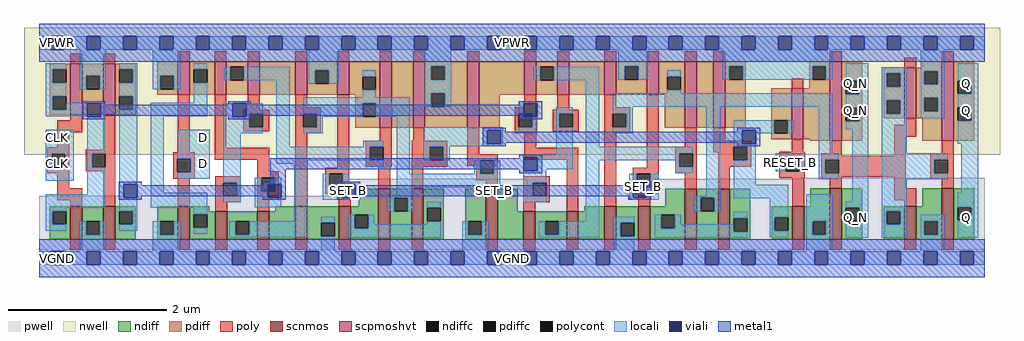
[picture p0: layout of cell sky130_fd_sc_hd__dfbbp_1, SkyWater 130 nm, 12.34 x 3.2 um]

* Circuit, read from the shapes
.subckt sky130_fd_sc_hd__dfbbp_1 CLK D RESET_B SET_B VGND VNB VPB VPWR Q Q_N
XM1 VGND CLK n1 VNB sky130_fd_pr__nfet_01v8 w=0.42 l=0.15
XM2 n2 n1 VGND VNB sky130_fd_pr__nfet_01v8 w=0.42 l=0.15
XM3 n3 D VGND VNB sky130_fd_pr__nfet_01v8 w=0.42 l=0.15
XM4 n4 n1 n3 VNB sky130_fd_pr__nfet_01v8 w=0.36 l=0.15
XM5 n5 n2 n4 VNB sky130_fd_pr__nfet_01v8 w=0.36 l=0.15
XM6 VGND n6 n5 VNB sky130_fd_pr__nfet_01v8 w=0.42 l=0.15
XM7 n7 SET_B VGND VNB sky130_fd_pr__nfet_01v8 w=0.42 l=0.15
XM8 n6 n4 n7 VNB sky130_fd_pr__nfet_01v8 w=0.64 l=0.15
XM9 n7 n8 n6 VNB sky130_fd_pr__nfet_01v8 w=0.64 l=0.15
XM10 n9 n6 VGND VNB sky130_fd_pr__nfet_01v8 w=0.64 l=0.15
XM11 n10 n2 n9 VNB sky130_fd_pr__nfet_01v8 w=0.36 l=0.15
XM12 n11 n1 n10 VNB sky130_fd_pr__nfet_01v8 w=0.36 l=0.15
XM13 VGND n12 n11 VNB sky130_fd_pr__nfet_01v8 w=0.42 l=0.15
XM14 n13 SET_B VGND VNB sky130_fd_pr__nfet_01v8 w=0.42 l=0.15
XM15 n12 n10 n13 VNB sky130_fd_pr__nfet_01v8 w=0.64 l=0.15
XM16 n13 n8 n12 VNB sky130_fd_pr__nfet_01v8 w=0.64 l=0.15
XM17 VGND RESET_B n8 VNB sky130_fd_pr__nfet_01v8 w=0.42 l=0.15
XM18 Q_N n12 VGND VNB sky130_fd_pr__nfet_01v8 w=0.65 l=0.15
XM19 VGND n12 n14 VNB sky130_fd_pr__nfet_01v8 w=0.42 l=0.15
XM20 Q n14 VGND VNB sky130_fd_pr__nfet_01v8 w=0.65 l=0.15
XM21 VPWR CLK n1 VPB sky130_fd_pr__pfet_01v8_hvt w=0.64 l=0.15
XM22 n2 n1 VPWR VPB sky130_fd_pr__pfet_01v8_hvt w=0.64 l=0.15
XM23 n3 D VPWR VPB sky130_fd_pr__pfet_01v8_hvt w=0.42 l=0.15
XM24 n4 n2 n3 VPB sky130_fd_pr__pfet_01v8_hvt w=0.42 l=0.15
XM25 n15 n1 n4 VPB sky130_fd_pr__pfet_01v8_hvt w=0.42 l=0.15
XM26 VPWR n6 n15 VPB sky130_fd_pr__pfet_01v8_hvt w=0.42 l=0.15
XM27 n6 SET_B VPWR VPB sky130_fd_pr__pfet_01v8_hvt w=0.42 l=0.15
XM28 n16 n4 n6 VPB sky130_fd_pr__pfet_01v8_hvt w=0.84 l=0.15
XM29 VPWR n8 n16 VPB sky130_fd_pr__pfet_01v8_hvt w=0.84 l=0.15
XM30 n17 n6 VPWR VPB sky130_fd_pr__pfet_01v8_hvt w=0.84 l=0.15
XM31 n10 n1 n17 VPB sky130_fd_pr__pfet_01v8_hvt w=0.42 l=0.15
XM32 n18 n2 n10 VPB sky130_fd_pr__pfet_01v8_hvt w=0.42 l=0.15
XM33 VPWR n12 n18 VPB sky130_fd_pr__pfet_01v8_hvt w=0.42 l=0.15
XM34 n12 SET_B VPWR VPB sky130_fd_pr__pfet_01v8_hvt w=0.42 l=0.15
XM35 n19 n10 n12 VPB sky130_fd_pr__pfet_01v8_hvt w=0.84 l=0.15
XM36 VPWR n8 n19 VPB sky130_fd_pr__pfet_01v8_hvt w=0.84 l=0.15
XM37 VPWR RESET_B n8 VPB sky130_fd_pr__pfet_01v8_hvt w=0.64 l=0.15
XM38 Q_N n12 VPWR VPB sky130_fd_pr__pfet_01v8_hvt w=1 l=0.15
XM39 VPWR n12 n14 VPB sky130_fd_pr__pfet_01v8_hvt w=0.64 l=0.15
XM40 Q n14 VPWR VPB sky130_fd_pr__pfet_01v8_hvt w=1 l=0.15
.ends

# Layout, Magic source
magic
tech sky130A
magscale 1 2
<< nwell >>
rect -38 261 2430 582
<< pwell >>
rect 1924 201 2391 203
rect 782 157 1236 201
rect 1557 157 2391 201
rect 1 21 2391 157
rect 30 -17 64 21
<< scnmos >>
rect 79 47 109 131
rect 163 47 193 131
rect 351 47 381 131
rect 446 47 476 119
rect 552 47 582 119
rect 648 47 678 131
rect 758 47 788 131
rect 858 47 888 175
rect 942 47 972 175
rect 1130 47 1160 175
rect 1225 47 1255 119
rect 1334 47 1364 119
rect 1429 47 1459 131
rect 1515 47 1545 131
rect 1633 47 1663 175
rect 1717 47 1747 175
rect 1905 47 1935 131
rect 2000 47 2030 177
rect 2188 47 2218 131
rect 2283 47 2313 177
<< scpmoshvt >>
rect 79 363 109 491
rect 163 363 193 491
rect 351 413 381 497
rect 444 413 474 497
rect 528 413 558 497
rect 648 413 678 497
rect 754 413 784 497
rect 862 329 892 497
rect 946 329 976 497
rect 1083 329 1113 497
rect 1227 413 1257 497
rect 1311 413 1341 497
rect 1429 413 1459 497
rect 1537 413 1567 497
rect 1633 329 1663 497
rect 1705 329 1735 497
rect 1903 301 1933 429
rect 2000 297 2030 497
rect 2188 353 2218 481
rect 2283 297 2313 497
<< ndiff >>
rect 27 119 79 131
rect 27 85 35 119
rect 69 85 79 119
rect 27 47 79 85
rect 109 93 163 131
rect 109 59 119 93
rect 153 59 163 93
rect 109 47 163 59
rect 193 119 245 131
rect 193 85 203 119
rect 237 85 245 119
rect 193 47 245 85
rect 299 93 351 131
rect 299 59 307 93
rect 341 59 351 93
rect 299 47 351 59
rect 381 119 431 131
rect 808 131 858 175
rect 597 119 648 131
rect 381 111 446 119
rect 381 77 391 111
rect 425 77 446 111
rect 381 47 446 77
rect 476 93 552 119
rect 476 59 497 93
rect 531 59 552 93
rect 476 47 552 59
rect 582 47 648 119
rect 678 89 758 131
rect 678 55 714 89
rect 748 55 758 89
rect 678 47 758 55
rect 788 109 858 131
rect 788 75 798 109
rect 832 75 858 109
rect 788 47 858 75
rect 888 153 942 175
rect 888 119 898 153
rect 932 119 942 153
rect 888 47 942 119
rect 972 127 1024 175
rect 972 93 982 127
rect 1016 93 1024 127
rect 972 47 1024 93
rect 1078 93 1130 175
rect 1078 59 1086 93
rect 1120 59 1130 93
rect 1078 47 1130 59
rect 1160 119 1210 175
rect 1583 131 1633 175
rect 1379 119 1429 131
rect 1160 47 1225 119
rect 1255 93 1334 119
rect 1255 59 1280 93
rect 1314 59 1334 93
rect 1255 47 1334 59
rect 1364 47 1429 119
rect 1459 89 1515 131
rect 1459 55 1471 89
rect 1505 55 1515 89
rect 1459 47 1515 55
rect 1545 109 1633 131
rect 1545 75 1573 109
rect 1607 75 1633 109
rect 1545 47 1633 75
rect 1663 153 1717 175
rect 1663 119 1673 153
rect 1707 119 1717 153
rect 1663 47 1717 119
rect 1747 101 1799 175
rect 1950 131 2000 177
rect 1747 67 1757 101
rect 1791 67 1799 101
rect 1747 47 1799 67
rect 1853 103 1905 131
rect 1853 69 1861 103
rect 1895 69 1905 103
rect 1853 47 1905 69
rect 1935 93 2000 131
rect 1935 59 1956 93
rect 1990 59 2000 93
rect 1935 47 2000 59
rect 2030 127 2082 177
rect 2233 131 2283 177
rect 2030 93 2040 127
rect 2074 93 2082 127
rect 2030 47 2082 93
rect 2136 119 2188 131
rect 2136 85 2144 119
rect 2178 85 2188 119
rect 2136 47 2188 85
rect 2218 93 2283 131
rect 2218 59 2239 93
rect 2273 59 2283 93
rect 2218 47 2283 59
rect 2313 129 2365 177
rect 2313 95 2323 129
rect 2357 95 2365 129
rect 2313 47 2365 95
<< pdiff >>
rect 27 477 79 491
rect 27 443 35 477
rect 69 443 79 477
rect 27 409 79 443
rect 27 375 35 409
rect 69 375 79 409
rect 27 363 79 375
rect 109 461 163 491
rect 109 427 119 461
rect 153 427 163 461
rect 109 363 163 427
rect 193 477 245 491
rect 193 443 203 477
rect 237 443 245 477
rect 193 409 245 443
rect 299 461 351 497
rect 299 427 307 461
rect 341 427 351 461
rect 299 413 351 427
rect 381 477 444 497
rect 381 443 391 477
rect 425 443 444 477
rect 381 413 444 443
rect 474 484 528 497
rect 474 450 484 484
rect 518 450 528 484
rect 474 413 528 450
rect 558 413 648 497
rect 678 475 754 497
rect 678 441 698 475
rect 732 441 754 475
rect 678 413 754 441
rect 784 459 862 497
rect 784 425 818 459
rect 852 425 862 459
rect 784 413 862 425
rect 193 375 203 409
rect 237 375 245 409
rect 193 363 245 375
rect 800 391 862 413
rect 800 357 818 391
rect 852 357 862 391
rect 800 329 862 357
rect 892 329 946 497
rect 976 485 1083 497
rect 976 451 992 485
rect 1026 451 1083 485
rect 976 417 1083 451
rect 976 383 992 417
rect 1026 383 1083 417
rect 976 329 1083 383
rect 1113 413 1227 497
rect 1257 484 1311 497
rect 1257 450 1267 484
rect 1301 450 1311 484
rect 1257 413 1311 450
rect 1341 413 1429 497
rect 1459 485 1537 497
rect 1459 451 1481 485
rect 1515 451 1537 485
rect 1459 413 1537 451
rect 1567 459 1633 497
rect 1567 425 1589 459
rect 1623 425 1633 459
rect 1567 413 1633 425
rect 1113 329 1165 413
rect 1582 329 1633 413
rect 1663 329 1705 497
rect 1735 485 1787 497
rect 1735 451 1745 485
rect 1779 451 1787 485
rect 1948 485 2000 497
rect 1735 329 1787 451
rect 1948 451 1956 485
rect 1990 451 2000 485
rect 1948 429 2000 451
rect 1851 349 1903 429
rect 1851 315 1859 349
rect 1893 315 1903 349
rect 1851 301 1903 315
rect 1933 301 2000 429
rect 1950 297 2000 301
rect 2030 448 2082 497
rect 2233 481 2283 497
rect 2030 414 2040 448
rect 2074 414 2082 448
rect 2030 380 2082 414
rect 2030 346 2040 380
rect 2074 346 2082 380
rect 2136 467 2188 481
rect 2136 433 2144 467
rect 2178 433 2188 467
rect 2136 399 2188 433
rect 2136 365 2144 399
rect 2178 365 2188 399
rect 2136 353 2188 365
rect 2218 473 2283 481
rect 2218 439 2239 473
rect 2273 439 2283 473
rect 2218 405 2283 439
rect 2218 371 2239 405
rect 2273 371 2283 405
rect 2218 353 2283 371
rect 2030 297 2082 346
rect 2233 297 2283 353
rect 2313 449 2365 497
rect 2313 415 2323 449
rect 2357 415 2365 449
rect 2313 381 2365 415
rect 2313 347 2323 381
rect 2357 347 2365 381
rect 2313 297 2365 347
<< ndiffc >>
rect 35 85 69 119
rect 119 59 153 93
rect 203 85 237 119
rect 307 59 341 93
rect 391 77 425 111
rect 497 59 531 93
rect 714 55 748 89
rect 798 75 832 109
rect 898 119 932 153
rect 982 93 1016 127
rect 1086 59 1120 93
rect 1280 59 1314 93
rect 1471 55 1505 89
rect 1573 75 1607 109
rect 1673 119 1707 153
rect 1757 67 1791 101
rect 1861 69 1895 103
rect 1956 59 1990 93
rect 2040 93 2074 127
rect 2144 85 2178 119
rect 2239 59 2273 93
rect 2323 95 2357 129
<< pdiffc >>
rect 35 443 69 477
rect 35 375 69 409
rect 119 427 153 461
rect 203 443 237 477
rect 307 427 341 461
rect 391 443 425 477
rect 484 450 518 484
rect 698 441 732 475
rect 818 425 852 459
rect 203 375 237 409
rect 818 357 852 391
rect 992 451 1026 485
rect 992 383 1026 417
rect 1267 450 1301 484
rect 1481 451 1515 485
rect 1589 425 1623 459
rect 1745 451 1779 485
rect 1956 451 1990 485
rect 1859 315 1893 349
rect 2040 414 2074 448
rect 2040 346 2074 380
rect 2144 433 2178 467
rect 2144 365 2178 399
rect 2239 439 2273 473
rect 2239 371 2273 405
rect 2323 415 2357 449
rect 2323 347 2357 381
<< poly >>
rect 79 491 109 517
rect 163 491 193 517
rect 351 497 381 523
rect 444 497 474 523
rect 528 497 558 523
rect 648 497 678 523
rect 754 497 784 523
rect 862 497 892 523
rect 946 497 976 523
rect 1083 497 1113 523
rect 1227 497 1257 523
rect 1311 497 1341 523
rect 1429 497 1459 523
rect 1537 497 1567 523
rect 1633 497 1663 523
rect 1705 497 1735 523
rect 2000 497 2030 523
rect 79 348 109 363
rect 46 318 109 348
rect 46 280 76 318
rect 21 264 76 280
rect 163 274 193 363
rect 21 230 32 264
rect 66 230 76 264
rect 21 214 76 230
rect 118 264 193 274
rect 351 267 381 413
rect 444 279 474 413
rect 528 375 558 413
rect 648 381 678 413
rect 516 365 582 375
rect 516 331 532 365
rect 566 331 582 365
rect 516 321 582 331
rect 648 365 712 381
rect 648 331 668 365
rect 702 331 712 365
rect 648 315 712 331
rect 118 230 134 264
rect 168 230 193 264
rect 118 220 193 230
rect 46 176 76 214
rect 46 146 109 176
rect 79 131 109 146
rect 163 131 193 220
rect 340 251 394 267
rect 340 217 350 251
rect 384 217 394 251
rect 444 249 582 279
rect 340 201 394 217
rect 552 219 582 249
rect 351 131 381 201
rect 446 191 510 207
rect 446 157 466 191
rect 500 157 510 191
rect 446 141 510 157
rect 552 203 606 219
rect 552 169 562 203
rect 596 169 606 203
rect 552 153 606 169
rect 446 119 476 141
rect 552 119 582 153
rect 648 131 678 315
rect 754 229 784 413
rect 1227 381 1257 413
rect 1203 365 1257 381
rect 1311 375 1341 413
rect 1429 381 1459 413
rect 1203 331 1213 365
rect 1247 331 1257 365
rect 862 297 892 329
rect 946 297 976 329
rect 826 281 892 297
rect 826 247 836 281
rect 870 247 892 281
rect 826 231 892 247
rect 942 281 1032 297
rect 942 247 988 281
rect 1022 247 1032 281
rect 942 231 1032 247
rect 1083 263 1113 329
rect 1203 315 1257 331
rect 1299 365 1365 375
rect 1299 331 1315 365
rect 1349 331 1365 365
rect 1299 321 1365 331
rect 1429 365 1495 381
rect 1429 331 1451 365
rect 1485 331 1495 365
rect 1227 279 1257 315
rect 1429 315 1495 331
rect 1083 247 1160 263
rect 1227 249 1364 279
rect 1083 233 1116 247
rect 724 213 784 229
rect 724 179 734 213
rect 768 193 784 213
rect 768 179 788 193
rect 724 163 788 179
rect 858 175 888 231
rect 942 175 972 231
rect 1106 213 1116 233
rect 1150 213 1160 247
rect 1106 197 1160 213
rect 1130 175 1160 197
rect 1225 191 1292 207
rect 758 131 788 163
rect 1225 157 1248 191
rect 1282 157 1292 191
rect 1225 141 1292 157
rect 1225 119 1255 141
rect 1334 119 1364 249
rect 1429 131 1459 315
rect 1537 229 1567 413
rect 1903 429 1933 455
rect 1633 281 1663 329
rect 1501 213 1567 229
rect 1609 265 1663 281
rect 1705 297 1735 329
rect 1705 281 1801 297
rect 1705 267 1757 281
rect 1609 231 1619 265
rect 1653 231 1663 265
rect 1609 215 1663 231
rect 1501 179 1511 213
rect 1545 179 1567 213
rect 1501 163 1567 179
rect 1633 175 1663 215
rect 1717 247 1757 267
rect 1791 247 1801 281
rect 1903 269 1933 301
rect 2188 481 2218 507
rect 2283 497 2313 523
rect 2188 337 2218 353
rect 2162 307 2218 337
rect 1717 231 1801 247
rect 1872 253 1936 269
rect 2000 265 2030 297
rect 1717 175 1747 231
rect 1872 219 1888 253
rect 1922 219 1936 253
rect 1872 203 1936 219
rect 1978 259 2030 265
rect 2162 259 2192 307
rect 2283 265 2313 297
rect 1978 249 2192 259
rect 1978 215 1988 249
rect 2022 215 2192 249
rect 1978 205 2192 215
rect 1515 131 1545 163
rect 1905 131 1935 203
rect 1978 199 2030 205
rect 2000 177 2030 199
rect 2162 176 2192 205
rect 2254 249 2313 265
rect 2254 215 2264 249
rect 2298 215 2313 249
rect 2254 199 2313 215
rect 2283 177 2313 199
rect 2162 146 2218 176
rect 2188 131 2218 146
rect 79 21 109 47
rect 163 21 193 47
rect 351 21 381 47
rect 446 21 476 47
rect 552 21 582 47
rect 648 21 678 47
rect 758 21 788 47
rect 858 21 888 47
rect 942 21 972 47
rect 1130 21 1160 47
rect 1225 21 1255 47
rect 1334 21 1364 47
rect 1429 21 1459 47
rect 1515 21 1545 47
rect 1633 21 1663 47
rect 1717 21 1747 47
rect 1905 21 1935 47
rect 2000 21 2030 47
rect 2188 21 2218 47
rect 2283 21 2313 47
<< polycont >>
rect 32 230 66 264
rect 532 331 566 365
rect 668 331 702 365
rect 134 230 168 264
rect 350 217 384 251
rect 466 157 500 191
rect 562 169 596 203
rect 1213 331 1247 365
rect 836 247 870 281
rect 988 247 1022 281
rect 1315 331 1349 365
rect 1451 331 1485 365
rect 734 179 768 213
rect 1116 213 1150 247
rect 1248 157 1282 191
rect 1619 231 1653 265
rect 1511 179 1545 213
rect 1757 247 1791 281
rect 1888 219 1922 253
rect 1988 215 2022 249
rect 2264 215 2298 249
<< locali >>
rect 0 527 29 561
rect 63 527 121 561
rect 155 527 213 561
rect 247 527 305 561
rect 339 527 397 561
rect 431 527 489 561
rect 523 527 581 561
rect 615 527 673 561
rect 707 527 765 561
rect 799 527 857 561
rect 891 527 949 561
rect 983 527 1041 561
rect 1075 527 1133 561
rect 1167 527 1225 561
rect 1259 527 1317 561
rect 1351 527 1409 561
rect 1443 527 1501 561
rect 1535 527 1593 561
rect 1627 527 1685 561
rect 1719 527 1777 561
rect 1811 527 1869 561
rect 1903 527 1961 561
rect 1995 527 2053 561
rect 2087 527 2145 561
rect 2179 527 2237 561
rect 2271 527 2329 561
rect 2363 527 2392 561
rect 17 477 69 493
rect 17 443 35 477
rect 17 409 69 443
rect 103 461 169 527
rect 103 427 119 461
rect 153 427 169 461
rect 203 477 248 493
rect 237 443 248 477
rect 17 375 35 409
rect 203 409 248 443
rect 287 461 357 527
rect 287 427 307 461
rect 341 427 357 461
rect 391 477 425 493
rect 468 450 484 484
rect 518 450 634 484
rect 69 391 168 393
rect 69 375 122 391
rect 17 359 122 375
rect 156 357 168 391
rect 17 264 88 325
rect 17 230 32 264
rect 66 230 88 264
rect 17 195 88 230
rect 122 264 168 357
rect 122 230 134 264
rect 122 161 168 230
rect 17 127 168 161
rect 237 375 248 409
rect 391 393 425 443
rect 203 187 248 375
rect 203 153 214 187
rect 17 119 69 127
rect 17 85 35 119
rect 203 119 248 153
rect 282 359 425 393
rect 282 165 316 359
rect 466 357 490 391
rect 524 365 566 391
rect 524 357 532 365
rect 466 331 532 357
rect 350 251 432 325
rect 384 217 432 251
rect 350 201 432 217
rect 466 315 566 331
rect 466 191 510 315
rect 600 281 634 450
rect 682 475 758 527
rect 976 485 1042 527
rect 682 441 698 475
rect 732 441 758 475
rect 818 459 852 475
rect 818 407 852 425
rect 976 451 992 485
rect 1026 451 1042 485
rect 1465 485 1541 527
rect 976 417 1042 451
rect 1251 450 1267 484
rect 1301 450 1417 484
rect 1465 451 1481 485
rect 1515 451 1541 485
rect 1729 485 2006 527
rect 1589 459 1623 475
rect 668 391 938 407
rect 668 365 818 391
rect 702 357 818 365
rect 852 357 938 391
rect 976 383 992 417
rect 1026 383 1042 417
rect 1213 391 1260 397
rect 702 331 718 357
rect 668 315 718 331
rect 820 281 870 297
rect 600 247 836 281
rect 600 239 680 247
rect 282 127 425 165
rect 500 157 510 191
rect 466 141 510 157
rect 546 169 562 203
rect 596 187 612 203
rect 546 153 578 169
rect 546 129 612 153
rect 17 69 69 85
rect 103 59 119 93
rect 153 59 169 93
rect 237 85 248 119
rect 391 111 425 127
rect 203 69 248 85
rect 103 17 169 59
rect 287 59 307 93
rect 341 59 357 93
rect 646 93 680 239
rect 826 231 870 247
rect 904 213 938 357
rect 1213 365 1226 391
rect 1247 331 1260 357
rect 972 323 1173 331
rect 972 289 1134 323
rect 1168 289 1173 323
rect 1213 315 1260 331
rect 1308 365 1349 381
rect 1308 331 1315 365
rect 972 283 1173 289
rect 972 281 1038 283
rect 972 247 988 281
rect 1022 247 1038 281
rect 1308 261 1349 331
rect 1225 255 1349 261
rect 1100 213 1116 247
rect 1150 213 1166 247
rect 718 179 734 213
rect 768 193 784 213
rect 768 187 800 193
rect 718 153 766 179
rect 904 179 1166 213
rect 1225 221 1226 255
rect 1260 225 1349 255
rect 1383 281 1417 450
rect 1729 451 1745 485
rect 1779 451 1956 485
rect 1990 451 2006 485
rect 1589 417 1623 425
rect 2040 448 2097 493
rect 1451 383 2006 417
rect 1451 365 1501 383
rect 1485 331 1501 365
rect 1451 315 1501 331
rect 1383 265 1653 281
rect 1383 247 1619 265
rect 1260 221 1282 225
rect 1225 191 1282 221
rect 904 153 948 179
rect 718 147 800 153
rect 882 119 898 153
rect 932 119 948 153
rect 1225 157 1248 191
rect 982 127 1016 143
rect 1225 141 1282 157
rect 391 61 425 77
rect 287 17 357 59
rect 481 59 497 93
rect 531 59 680 93
rect 481 53 680 59
rect 714 89 748 105
rect 714 17 748 55
rect 782 75 798 109
rect 832 85 848 109
rect 1383 93 1417 247
rect 1609 231 1619 247
rect 1609 215 1653 231
rect 1492 187 1511 213
rect 1492 153 1502 187
rect 1545 179 1567 213
rect 1536 153 1567 179
rect 1687 156 1723 383
rect 1492 147 1567 153
rect 1657 153 1723 156
rect 1657 119 1673 153
rect 1707 119 1723 153
rect 1757 323 1859 349
rect 1757 289 1778 323
rect 1812 315 1859 323
rect 1893 315 1909 349
rect 1757 281 1812 289
rect 1791 247 1812 281
rect 1972 265 2006 383
rect 2074 414 2097 448
rect 2040 380 2097 414
rect 2074 346 2097 380
rect 2040 326 2097 346
rect 1757 185 1812 247
rect 1863 253 1938 265
rect 1863 219 1888 253
rect 1922 219 1938 253
rect 1972 249 2022 265
rect 1972 215 1988 249
rect 1972 199 2022 215
rect 1757 151 1895 185
rect 982 85 1016 93
rect 832 75 1016 85
rect 782 51 1016 75
rect 1070 59 1086 93
rect 1120 59 1136 93
rect 1070 17 1136 59
rect 1264 59 1280 93
rect 1314 59 1417 93
rect 1264 53 1417 59
rect 1453 89 1505 105
rect 1453 55 1471 89
rect 1453 17 1505 55
rect 1557 75 1573 109
rect 1607 85 1623 109
rect 1757 101 1791 117
rect 1607 75 1757 85
rect 1557 67 1757 75
rect 1557 51 1791 67
rect 1848 103 1895 151
rect 1848 69 1861 103
rect 1848 53 1895 69
rect 1940 93 2006 161
rect 2056 143 2097 326
rect 1940 59 1956 93
rect 1990 59 2006 93
rect 1940 17 2006 59
rect 2040 127 2097 143
rect 2074 93 2097 127
rect 2040 51 2097 93
rect 2131 467 2194 483
rect 2131 433 2144 467
rect 2178 433 2194 467
rect 2131 399 2194 433
rect 2131 365 2144 399
rect 2178 365 2194 399
rect 2131 265 2194 365
rect 2230 473 2289 527
rect 2230 439 2239 473
rect 2273 439 2289 473
rect 2230 405 2289 439
rect 2230 371 2239 405
rect 2273 371 2289 405
rect 2230 353 2289 371
rect 2323 449 2375 493
rect 2357 415 2375 449
rect 2323 381 2375 415
rect 2357 347 2375 381
rect 2323 289 2375 347
rect 2131 249 2298 265
rect 2131 215 2264 249
rect 2131 199 2298 215
rect 2131 119 2194 199
rect 2332 165 2375 289
rect 2131 85 2144 119
rect 2178 85 2194 119
rect 2323 129 2375 165
rect 2131 51 2194 85
rect 2230 93 2289 109
rect 2230 59 2239 93
rect 2273 59 2289 93
rect 2230 17 2289 59
rect 2357 95 2375 129
rect 2323 51 2375 95
rect 0 -17 29 17
rect 63 -17 121 17
rect 155 -17 213 17
rect 247 -17 305 17
rect 339 -17 397 17
rect 431 -17 489 17
rect 523 -17 581 17
rect 615 -17 673 17
rect 707 -17 765 17
rect 799 -17 857 17
rect 891 -17 949 17
rect 983 -17 1041 17
rect 1075 -17 1133 17
rect 1167 -17 1225 17
rect 1259 -17 1317 17
rect 1351 -17 1409 17
rect 1443 -17 1501 17
rect 1535 -17 1593 17
rect 1627 -17 1685 17
rect 1719 -17 1777 17
rect 1811 -17 1869 17
rect 1903 -17 1961 17
rect 1995 -17 2053 17
rect 2087 -17 2145 17
rect 2179 -17 2237 17
rect 2271 -17 2329 17
rect 2363 -17 2392 17
<< viali >>
rect 29 527 63 561
rect 121 527 155 561
rect 213 527 247 561
rect 305 527 339 561
rect 397 527 431 561
rect 489 527 523 561
rect 581 527 615 561
rect 673 527 707 561
rect 765 527 799 561
rect 857 527 891 561
rect 949 527 983 561
rect 1041 527 1075 561
rect 1133 527 1167 561
rect 1225 527 1259 561
rect 1317 527 1351 561
rect 1409 527 1443 561
rect 1501 527 1535 561
rect 1593 527 1627 561
rect 1685 527 1719 561
rect 1777 527 1811 561
rect 1869 527 1903 561
rect 1961 527 1995 561
rect 2053 527 2087 561
rect 2145 527 2179 561
rect 2237 527 2271 561
rect 2329 527 2363 561
rect 122 357 156 391
rect 214 153 248 187
rect 490 357 524 391
rect 578 169 596 187
rect 596 169 612 187
rect 578 153 612 169
rect 1226 365 1260 391
rect 1226 357 1247 365
rect 1247 357 1260 365
rect 1134 289 1168 323
rect 766 179 768 187
rect 768 179 800 187
rect 766 153 800 179
rect 1226 221 1260 255
rect 1502 179 1511 187
rect 1511 179 1536 187
rect 1502 153 1536 179
rect 1778 289 1812 323
rect 29 -17 63 17
rect 121 -17 155 17
rect 213 -17 247 17
rect 305 -17 339 17
rect 397 -17 431 17
rect 489 -17 523 17
rect 581 -17 615 17
rect 673 -17 707 17
rect 765 -17 799 17
rect 857 -17 891 17
rect 949 -17 983 17
rect 1041 -17 1075 17
rect 1133 -17 1167 17
rect 1225 -17 1259 17
rect 1317 -17 1351 17
rect 1409 -17 1443 17
rect 1501 -17 1535 17
rect 1593 -17 1627 17
rect 1685 -17 1719 17
rect 1777 -17 1811 17
rect 1869 -17 1903 17
rect 1961 -17 1995 17
rect 2053 -17 2087 17
rect 2145 -17 2179 17
rect 2237 -17 2271 17
rect 2329 -17 2363 17
<< metal1 >>
rect 0 561 2392 592
rect 0 527 29 561
rect 63 527 121 561
rect 155 527 213 561
rect 247 527 305 561
rect 339 527 397 561
rect 431 527 489 561
rect 523 527 581 561
rect 615 527 673 561
rect 707 527 765 561
rect 799 527 857 561
rect 891 527 949 561
rect 983 527 1041 561
rect 1075 527 1133 561
rect 1167 527 1225 561
rect 1259 527 1317 561
rect 1351 527 1409 561
rect 1443 527 1501 561
rect 1535 527 1593 561
rect 1627 527 1685 561
rect 1719 527 1777 561
rect 1811 527 1869 561
rect 1903 527 1961 561
rect 1995 527 2053 561
rect 2087 527 2145 561
rect 2179 527 2237 561
rect 2271 527 2329 561
rect 2363 527 2392 561
rect 0 496 2392 527
rect 110 391 168 397
rect 110 357 122 391
rect 156 388 168 391
rect 478 391 536 397
rect 478 388 490 391
rect 156 360 490 388
rect 156 357 168 360
rect 110 351 168 357
rect 478 357 490 360
rect 524 388 536 391
rect 1214 391 1272 397
rect 1214 388 1226 391
rect 524 360 1226 388
rect 524 357 536 360
rect 478 351 536 357
rect 1214 357 1226 360
rect 1260 357 1272 391
rect 1214 351 1272 357
rect 1122 323 1180 329
rect 1122 289 1134 323
rect 1168 320 1180 323
rect 1766 323 1824 329
rect 1766 320 1778 323
rect 1168 292 1778 320
rect 1168 289 1180 292
rect 1122 283 1180 289
rect 1766 289 1778 292
rect 1812 289 1824 323
rect 1766 283 1824 289
rect 1214 255 1272 261
rect 1214 252 1226 255
rect 585 224 1226 252
rect 585 193 624 224
rect 1214 221 1226 224
rect 1260 221 1272 255
rect 1214 215 1272 221
rect 202 187 260 193
rect 202 153 214 187
rect 248 184 260 187
rect 566 187 624 193
rect 566 184 578 187
rect 248 156 578 184
rect 248 153 260 156
rect 202 147 260 153
rect 566 153 578 156
rect 612 153 624 187
rect 566 147 624 153
rect 754 187 812 193
rect 754 153 766 187
rect 800 184 812 187
rect 1490 187 1548 193
rect 1490 184 1502 187
rect 800 156 1502 184
rect 800 153 812 156
rect 754 147 812 153
rect 1490 153 1502 156
rect 1536 153 1548 187
rect 1490 147 1548 153
rect 0 17 2392 48
rect 0 -17 29 17
rect 63 -17 121 17
rect 155 -17 213 17
rect 247 -17 305 17
rect 339 -17 397 17
rect 431 -17 489 17
rect 523 -17 581 17
rect 615 -17 673 17
rect 707 -17 765 17
rect 799 -17 857 17
rect 891 -17 949 17
rect 983 -17 1041 17
rect 1075 -17 1133 17
rect 1167 -17 1225 17
rect 1259 -17 1317 17
rect 1351 -17 1409 17
rect 1443 -17 1501 17
rect 1535 -17 1593 17
rect 1627 -17 1685 17
rect 1719 -17 1777 17
rect 1811 -17 1869 17
rect 1903 -17 1961 17
rect 1995 -17 2053 17
rect 2087 -17 2145 17
rect 2179 -17 2237 17
rect 2271 -17 2329 17
rect 2363 -17 2392 17
rect 0 -48 2392 -17
<< labels >>
flabel locali s 1863 219 1938 265 0 FreeSans 400 0 0 0 RESET_B
port 3 nsew signal input
flabel locali s 30 -17 64 17 3 FreeSans 400 0 0 0 VGND
port 5 nsew ground bidirectional abutment
flabel locali s 30 221 64 255 0 FreeSans 400 0 0 0 CLK
port 1 nsew clock input
flabel locali s 30 289 64 323 0 FreeSans 400 0 0 0 CLK
port 1 nsew clock input
flabel locali s 766 153 800 187 0 FreeSans 400 0 0 0 SET_B
port 4 nsew signal input
flabel locali s 2328 85 2362 119 0 FreeSans 400 0 0 0 Q
port 9 nsew signal output
flabel locali s 2328 357 2362 391 0 FreeSans 400 0 0 0 Q
port 9 nsew signal output
flabel locali s 2328 425 2362 459 0 FreeSans 400 0 0 0 Q
port 9 nsew signal output
flabel locali s 30 527 64 561 3 FreeSans 400 0 0 0 VPWR
port 8 nsew power bidirectional abutment
flabel locali s 398 221 432 255 0 FreeSans 200 0 0 0 D
port 2 nsew signal input
flabel locali s 398 289 432 323 0 FreeSans 200 0 0 0 D
port 2 nsew signal input
flabel locali s 2048 425 2082 459 0 FreeSans 400 0 0 0 Q_N
port 10 nsew signal output
flabel locali s 2048 357 2082 391 0 FreeSans 400 0 0 0 Q_N
port 10 nsew signal output
flabel locali s 2048 85 2082 119 0 FreeSans 400 0 0 0 Q_N
port 10 nsew signal output
flabel metal1 s 30 -17 64 17 0 FreeSans 200 0 0 0 VGND
port 5 nsew ground bidirectional abutment
flabel metal1 s 30 527 64 561 0 FreeSans 200 0 0 0 VPWR
port 8 nsew power bidirectional abutment
flabel nwell s 30 527 64 561 3 FreeSans 400 0 0 0 VPB
port 7 nsew power bidirectional
flabel nwell s 47 544 47 544 0 FreeSans 200 0 0 0 VPB
flabel pwell s 30 -17 64 17 3 FreeSans 400 0 0 0 VNB
port 6 nsew ground bidirectional
flabel pwell s 47 0 47 0 0 FreeSans 200 0 0 0 VNB
rlabel comment s 0 0 0 0 4 dfbbp_1
rlabel locali s 1492 147 1567 213 1 SET_B
port 4 nsew signal input
rlabel metal1 s 1490 184 1548 193 1 SET_B
port 4 nsew signal input
rlabel metal1 s 1490 147 1548 156 1 SET_B
port 4 nsew signal input
rlabel metal1 s 754 184 812 193 1 SET_B
port 4 nsew signal input
rlabel metal1 s 754 156 1548 184 1 SET_B
port 4 nsew signal input
rlabel metal1 s 754 147 812 156 1 SET_B
port 4 nsew signal input
rlabel metal1 s 0 -48 2392 48 1 VGND
port 5 nsew ground bidirectional abutment
rlabel metal1 s 0 496 2392 592 1 VPWR
port 8 nsew power bidirectional abutment
<< properties >>
string FIXED_BBOX 0 0 2392 544
string GDS_END 3401278
string GDS_FILE $PDKPATH/libs.ref/sky130_fd_sc_hd/gds/sky130_fd_sc_hd.gds
string GDS_START 3382260
string LEFclass CORE
string LEFsite unithd
string LEFsymmetry X Y R90
<< end >>
